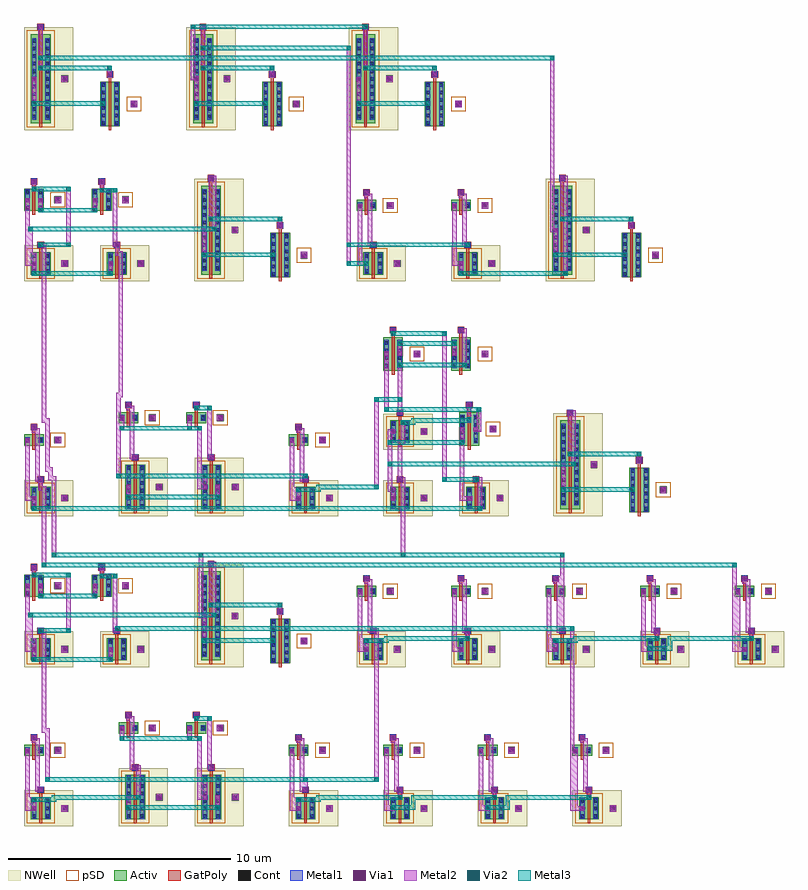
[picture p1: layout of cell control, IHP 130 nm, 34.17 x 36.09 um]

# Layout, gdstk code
import gdstk
lib = gdstk.Library(unit=1e-6, precision=1e-09)
def R(c, l, rs):  # rectangles x0, y0, x1, y1
    for r in rs: c.add(gdstk.rectangle(r[:2], r[2:], *l))
def A(c, l, x, y, w, h, nx, ny, dx, dy):  # array of equal rectangles
    R(c, l, [(x+i*dx, y+j*dy, x+i*dx+w, y+j*dy+h) for i in range(nx) for j in range(ny)])
Activ = (1, 0)
GatPoly = (5, 0)
Cont = (6, 0)
Metal1 = (8, 0)
Metal2 = (10, 0)
pSD = (14, 0)
Via1 = (19, 0)
Via2 = (29, 0)
Metal3 = (30, 0)
NWell = (31, 0)

sg13_lv_pmos_w1_l0p13 = lib.new_cell('sg13_lv_pmos_w1_l0p13')
R(sg13_lv_pmos_w1_l0p13, Activ, [(0,0,0.89,1), (1.37,0.35,1.67,0.65)])
R(sg13_lv_pmos_w1_l0p13, GatPoly, [(0.38,-0.18,0.51,1.2), (0.295,1.18,0.595,1.48)])
A(sg13_lv_pmos_w1_l0p13, Cont, 0.07, 0.08, 0.16, 0.16, 1, 3, 0, 0.34)
A(sg13_lv_pmos_w1_l0p13, Cont, 0.66, 0.08, 0.16, 0.16, 1, 3, 0, 0.34)
R(sg13_lv_pmos_w1_l0p13, Cont, [(1.44,0.42,1.6,0.58), (0.365,1.25,0.525,1.41)])
R(sg13_lv_pmos_w1_l0p13, Metal1, [(0.05,0.03,0.25,0.97), (0.64,0.03,0.84,0.97), (1.375,0.355,1.665,0.645), (0.315,1.2,0.575,1.46)])
R(sg13_lv_pmos_w1_l0p13, Metal2, [(1.375,0.355,1.665,0.645)])
R(sg13_lv_pmos_w1_l0p13, pSD, [(-0.18,-0.18,1.07,1.18)])
R(sg13_lv_pmos_w1_l0p13, Via1, [(1.425,0.405,1.615,0.595)])
R(sg13_lv_pmos_w1_l0p13, NWell, [(-0.31,-0.31,1.91,1.31)])

sg13_lv_nmos_w0p5_l0p13 = lib.new_cell('sg13_lv_nmos_w0p5_l0p13')
R(sg13_lv_nmos_w0p5_l0p13, Activ, [(0,0,0.89,0.5), (1.37,0.1,1.67,0.4)])
R(sg13_lv_nmos_w0p5_l0p13, GatPoly, [(0.38,-0.18,0.51,0.7), (0.295,0.68,0.595,0.98)])
R(sg13_lv_nmos_w0p5_l0p13, Cont, [(0.07,0.17,0.23,0.33), (0.66,0.17,0.82,0.33), (1.44,0.17,1.6,0.33), (0.365,0.75,0.525,0.91)])
R(sg13_lv_nmos_w0p5_l0p13, Metal1, [(1.375,0.105,1.665,0.395), (0.05,0.12,0.25,0.38), (0.64,0.12,0.84,0.38), (0.315,0.7,0.575,0.96)])
R(sg13_lv_nmos_w0p5_l0p13, Metal2, [(1.375,0.105,1.665,0.395)])
R(sg13_lv_nmos_w0p5_l0p13, pSD, [(1.19,-0.08,1.85,0.58)])
R(sg13_lv_nmos_w0p5_l0p13, Via1, [(1.425,0.155,1.615,0.345)])

inv = lib.new_cell('inv')
R(inv, Metal1, [(0.345,0.695,0.555,0.905), (0.645,1.545,0.855,1.755), (0.045,3.295,0.255,3.505), (0.345,3.895,0.555,4.105)])
R(inv, Metal2, [(0.05,0.7,0.25,3.5), (0.05,0.7,0.55,0.9), (0.35,0.7,0.55,0.9), (0.5,1.55,0.85,1.75), (0.5,1.55,0.7,3.95), (0.65,1.55,0.85,1.75), (0.05,3.3,0.25,3.5), (0.35,3.75,0.55,4.1), (0.35,3.75,0.7,3.95), (0.35,3.9,0.55,4.1)])
R(inv, Via1, [(0.355,0.705,0.545,0.895), (0.655,1.555,0.845,1.745), (0.055,3.305,0.245,3.495), (0.355,3.905,0.545,4.095)])
inv.add(gdstk.Reference(sg13_lv_pmos_w1_l0p13, (0.31,0.31)))
inv.add(gdstk.Reference(sg13_lv_nmos_w0p5_l0p13, (0,3.17)))
inv.add(gdstk.Label('Y', (0.46,0.81), layer=8, texttype=25))
inv.add(gdstk.Label('A', (0.755,1.64), layer=8, texttype=25))
inv.add(gdstk.Label('VDD', (1.05,0.81), layer=8, texttype=25))
inv.add(gdstk.Label('VDD', (1.83,0.81), layer=8, texttype=25))
inv.add(gdstk.Label('Y', (0.15,3.42), layer=8, texttype=25))
inv.add(gdstk.Label('A', (0.445,4), layer=8, texttype=25))
inv.add(gdstk.Label('VSS', (0.74,3.42), layer=8, texttype=25))
inv.add(gdstk.Label('VSS', (1.52,3.42), layer=8, texttype=25))

sg13_lv_pmos_w2_l0p13 = lib.new_cell('sg13_lv_pmos_w2_l0p13')
R(sg13_lv_pmos_w2_l0p13, Activ, [(0,0,0.89,2), (1.37,0.85,1.67,1.15)])
R(sg13_lv_pmos_w2_l0p13, GatPoly, [(0.38,-0.18,0.51,2.2), (0.295,2.18,0.595,2.48)])
A(sg13_lv_pmos_w2_l0p13, Cont, 0.07, 0.07, 0.16, 0.16, 1, 6, 0, 0.34)
A(sg13_lv_pmos_w2_l0p13, Cont, 0.66, 0.07, 0.16, 0.16, 1, 6, 0, 0.34)
R(sg13_lv_pmos_w2_l0p13, Cont, [(1.44,0.92,1.6,1.08), (0.365,2.25,0.525,2.41)])
R(sg13_lv_pmos_w2_l0p13, Metal1, [(0.05,0.02,0.25,1.98), (0.64,0.02,0.84,1.98), (1.375,0.855,1.665,1.145), (0.315,2.2,0.575,2.46)])
R(sg13_lv_pmos_w2_l0p13, Metal2, [(1.375,0.855,1.665,1.145)])
R(sg13_lv_pmos_w2_l0p13, pSD, [(-0.18,-0.18,1.07,2.18)])
R(sg13_lv_pmos_w2_l0p13, Via1, [(1.425,0.905,1.615,1.095)])
R(sg13_lv_pmos_w2_l0p13, NWell, [(-0.31,-0.31,1.91,2.31)])

nor2 = lib.new_cell('nor2')
R(nor2, Metal1, [(0.345,1.195,0.555,1.405), (3.795,1.195,4.005,1.405), (4.345,1.195,4.555,1.405), (0.645,2.545,0.855,2.755), (4.095,2.545,4.305,2.755), (0.045,4.295,0.255,4.505), (3.095,4.295,3.305,4.505), (0.345,4.895,0.555,5.105), (3.395,4.895,3.605,5.105)])
R(nor2, Metal2, [(0.35,0.75,0.55,0.95), (0.35,0.75,0.55,1.4), (4.35,0.75,4.55,0.95), (4.35,0.75,4.55,1.4), (0.35,1.2,0.55,1.4), (3.55,1.2,3.75,4.05), (3.55,1.2,4,1.4), (3.8,1.2,4,1.4), (4.35,1.2,4.55,1.4), (0.5,2.55,0.85,2.75), (0.5,2.55,0.7,4.95), (0.65,2.55,0.85,2.75), (4,2.55,4.2,4.95), (4,2.55,4.3,2.75), (4.1,2.55,4.3,2.75), (0.05,3.85,0.25,4.05), (0.05,3.85,0.25,4.5), (3.1,3.85,3.3,4.05), (3.1,3.85,3.3,4.5), (3.55,3.85,3.75,4.05), (0.05,4.3,0.25,4.5), (3.1,4.3,3.3,4.5), (0.35,4.75,0.55,5.1), (0.35,4.75,0.7,4.95), (3.4,4.75,3.6,4.95), (3.4,4.75,3.6,5.1), (4,4.75,4.2,4.95), (0.35,4.9,0.55,5.1), (3.4,4.9,3.6,5.1)])
R(nor2, Via1, [(0.355,1.205,0.545,1.395), (3.805,1.205,3.995,1.395), (4.355,1.205,4.545,1.395), (0.655,2.555,0.845,2.745), (4.105,2.555,4.295,2.745), (0.055,4.305,0.245,4.495), (3.105,4.305,3.295,4.495), (0.355,4.905,0.545,5.095), (3.405,4.905,3.595,5.095)])
R(nor2, Via2, [(0.355,0.755,0.545,0.945), (4.355,0.755,4.545,0.945), (0.055,3.855,0.245,4.045), (3.105,3.855,3.295,4.045), (3.555,3.855,3.745,4.045), (3.405,4.755,3.595,4.945), (4.005,4.755,4.195,4.945)])
R(nor2, Metal3, [(0.35,0.75,0.55,0.95), (0.35,0.75,4.55,0.95), (4.35,0.75,4.55,0.95), (0.05,3.85,0.25,4.05), (0.05,3.85,3.3,4.05), (3.1,3.85,3.3,4.05), (3.1,3.85,3.75,4.05), (3.55,3.85,3.75,4.05), (3.4,4.75,3.6,4.95), (3.4,4.75,4.2,4.95), (4,4.75,4.2,4.95)])
nor2.add(gdstk.Reference(sg13_lv_pmos_w2_l0p13, (0.31,0.31)))
nor2.add(gdstk.Reference(sg13_lv_pmos_w2_l0p13, (3.73,0.31)))
nor2.add(gdstk.Reference(sg13_lv_nmos_w0p5_l0p13, (0,4.17)))
nor2.add(gdstk.Reference(sg13_lv_nmos_w0p5_l0p13, (3.05,4.17)))
nor2.add(gdstk.Label('N1', (0.46,1.31), layer=8, texttype=25))
nor2.add(gdstk.Label('A', (0.755,2.64), layer=8, texttype=25))
nor2.add(gdstk.Label('VDD', (1.05,1.31), layer=8, texttype=25))
nor2.add(gdstk.Label('VDD', (1.83,1.31), layer=8, texttype=25))
nor2.add(gdstk.Label('Y', (3.88,1.31), layer=8, texttype=25))
nor2.add(gdstk.Label('B', (4.175,2.64), layer=8, texttype=25))
nor2.add(gdstk.Label('N1', (4.47,1.31), layer=8, texttype=25))
nor2.add(gdstk.Label('VDD', (5.25,1.31), layer=8, texttype=25))
nor2.add(gdstk.Label('Y', (0.15,4.42), layer=8, texttype=25))
nor2.add(gdstk.Label('A', (0.445,5), layer=8, texttype=25))
nor2.add(gdstk.Label('VSS', (0.74,4.42), layer=8, texttype=25))
nor2.add(gdstk.Label('VSS', (1.52,4.42), layer=8, texttype=25))
nor2.add(gdstk.Label('Y', (3.2,4.42), layer=8, texttype=25))
nor2.add(gdstk.Label('B', (3.495,5), layer=8, texttype=25))
nor2.add(gdstk.Label('VSS', (3.79,4.42), layer=8, texttype=25))
nor2.add(gdstk.Label('VSS', (4.57,4.42), layer=8, texttype=25))

sg13_lv_nmos_w1_l0p13 = lib.new_cell('sg13_lv_nmos_w1_l0p13')
R(sg13_lv_nmos_w1_l0p13, Activ, [(0,0,0.89,1), (1.37,0.35,1.67,0.65)])
R(sg13_lv_nmos_w1_l0p13, GatPoly, [(0.38,-0.18,0.51,1.2), (0.295,1.18,0.595,1.48)])
A(sg13_lv_nmos_w1_l0p13, Cont, 0.07, 0.08, 0.16, 0.16, 1, 3, 0, 0.34)
A(sg13_lv_nmos_w1_l0p13, Cont, 0.66, 0.08, 0.16, 0.16, 1, 3, 0, 0.34)
R(sg13_lv_nmos_w1_l0p13, Cont, [(1.44,0.42,1.6,0.58), (0.365,1.25,0.525,1.41)])
R(sg13_lv_nmos_w1_l0p13, Metal1, [(0.05,0.03,0.25,0.97), (0.64,0.03,0.84,0.97), (1.375,0.355,1.665,0.645), (0.315,1.2,0.575,1.46)])
R(sg13_lv_nmos_w1_l0p13, Metal2, [(1.375,0.355,1.665,0.645)])
R(sg13_lv_nmos_w1_l0p13, pSD, [(1.19,0.17,1.85,0.83)])
R(sg13_lv_nmos_w1_l0p13, Via1, [(1.425,0.405,1.615,0.595)])

nand2 = lib.new_cell('nand2')
R(nand2, Metal1, [(0.345,0.695,0.555,0.905), (3.795,0.695,4.005,0.905), (0.645,1.545,0.855,1.755), (4.095,1.545,4.305,1.755), (0.045,3.545,0.255,3.755), (0.645,3.545,0.855,3.755), (3.095,3.545,3.305,3.755), (0.345,4.395,0.555,4.605), (3.395,4.395,3.605,4.605)])
R(nand2, Metal2, [(0.35,0.25,0.55,0.45), (0.35,0.25,0.55,0.9), (3.8,0.25,4,0.45), (3.8,0.25,4,0.9), (0.05,0.7,0.25,3.75), (0.05,0.7,0.55,0.9), (0.35,0.7,0.55,0.9), (3.8,0.7,4,0.9), (0.65,1.55,0.85,1.75), (0.65,1.55,0.85,1.75), (1.9,1.55,2.1,1.75), (1.9,1.55,2.1,4.25), (4,1.55,4.2,4.2), (4,1.55,4.3,1.75), (4.1,1.55,4.3,1.75), (0.65,3.1,0.85,3.3), (0.65,3.1,0.85,3.75), (3.1,3.1,3.3,3.3), (3.1,3.1,3.3,3.75), (0.05,3.55,0.25,3.75), (0.65,3.55,0.85,3.75), (3.1,3.55,3.3,3.75), (3.4,4,3.6,4.2), (3.4,4,3.6,4.6), (4,4,4.2,4.2), (0.35,4.05,0.55,4.25), (0.35,4.05,0.55,4.6), (1.9,4.05,2.1,4.25), (0.35,4.4,0.55,4.6), (3.4,4.4,3.6,4.6)])
R(nand2, Via1, [(0.355,0.705,0.545,0.895), (3.805,0.705,3.995,0.895), (0.655,1.555,0.845,1.745), (4.105,1.555,4.295,1.745), (0.055,3.555,0.245,3.745), (0.655,3.555,0.845,3.745), (3.105,3.555,3.295,3.745), (0.355,4.405,0.545,4.595), (3.405,4.405,3.595,4.595)])
R(nand2, Via2, [(0.355,0.255,0.545,0.445), (3.805,0.255,3.995,0.445), (0.655,1.555,0.845,1.745), (1.905,1.555,2.095,1.745), (0.655,3.105,0.845,3.295), (3.105,3.105,3.295,3.295), (3.405,4.005,3.595,4.195), (4.005,4.005,4.195,4.195), (0.355,4.055,0.545,4.245), (1.905,4.055,2.095,4.245)])
R(nand2, Metal3, [(0.35,0.25,0.55,0.45), (0.35,0.25,4,0.45), (3.8,0.25,4,0.45), (0.65,1.55,0.85,1.75), (0.65,1.55,2.1,1.75), (1.9,1.55,2.1,1.75), (0.65,3.1,0.85,3.3), (0.65,3.1,3.3,3.3), (3.1,3.1,3.3,3.3), (3.4,4,3.6,4.2), (3.4,4,4.2,4.2), (4,4,4.2,4.2), (0.35,4.05,0.55,4.25), (0.35,4.05,2.1,4.25), (1.9,4.05,2.1,4.25)])
nand2.add(gdstk.Reference(sg13_lv_pmos_w1_l0p13, (0.31,0.31)))
nand2.add(gdstk.Reference(sg13_lv_pmos_w1_l0p13, (3.73,0.31)))
nand2.add(gdstk.Reference(sg13_lv_nmos_w1_l0p13, (0,3.17)))
nand2.add(gdstk.Reference(sg13_lv_nmos_w1_l0p13, (3.05,3.17)))
nand2.add(gdstk.Label('Y', (0.46,0.81), layer=8, texttype=25))
nand2.add(gdstk.Label('A', (0.755,1.64), layer=8, texttype=25))
nand2.add(gdstk.Label('VDD', (1.05,0.81), layer=8, texttype=25))
nand2.add(gdstk.Label('VDD', (1.83,0.81), layer=8, texttype=25))
nand2.add(gdstk.Label('Y', (3.88,0.81), layer=8, texttype=25))
nand2.add(gdstk.Label('B', (4.175,1.64), layer=8, texttype=25))
nand2.add(gdstk.Label('VDD', (4.47,0.81), layer=8, texttype=25))
nand2.add(gdstk.Label('VDD', (5.25,0.81), layer=8, texttype=25))
nand2.add(gdstk.Label('Y', (0.15,3.67), layer=8, texttype=25))
nand2.add(gdstk.Label('A', (0.445,4.5), layer=8, texttype=25))
nand2.add(gdstk.Label('N1', (0.74,3.67), layer=8, texttype=25))
nand2.add(gdstk.Label('VSS', (1.52,3.67), layer=8, texttype=25))
nand2.add(gdstk.Label('N1', (3.2,3.67), layer=8, texttype=25))
nand2.add(gdstk.Label('B', (3.495,4.5), layer=8, texttype=25))
nand2.add(gdstk.Label('VSS', (3.79,3.67), layer=8, texttype=25))
nand2.add(gdstk.Label('VSS', (4.57,3.67), layer=8, texttype=25))

sg13_lv_pmos_w4_l0p13 = lib.new_cell('sg13_lv_pmos_w4_l0p13')
R(sg13_lv_pmos_w4_l0p13, Activ, [(0,0,0.89,4), (1.37,1.85,1.67,2.15)])
R(sg13_lv_pmos_w4_l0p13, GatPoly, [(0.38,-0.18,0.51,4.2), (0.295,4.18,0.595,4.48)])
A(sg13_lv_pmos_w4_l0p13, Cont, 0.07, 0.22, 0.16, 0.16, 1, 11, 0, 0.34)
A(sg13_lv_pmos_w4_l0p13, Cont, 0.66, 0.22, 0.16, 0.16, 1, 11, 0, 0.34)
R(sg13_lv_pmos_w4_l0p13, Cont, [(1.44,1.92,1.6,2.08), (0.365,4.25,0.525,4.41)])
R(sg13_lv_pmos_w4_l0p13, Metal1, [(0.05,0.17,0.25,3.83), (0.64,0.17,0.84,3.83), (1.375,1.855,1.665,2.145), (0.315,4.2,0.575,4.46)])
R(sg13_lv_pmos_w4_l0p13, Metal2, [(1.375,1.855,1.665,2.145)])
R(sg13_lv_pmos_w4_l0p13, pSD, [(-0.18,-0.18,1.07,4.18)])
R(sg13_lv_pmos_w4_l0p13, Via1, [(1.425,1.905,1.615,2.095)])
R(sg13_lv_pmos_w4_l0p13, NWell, [(-0.31,-0.31,1.91,4.31)])

sg13_lv_nmos_w2_l0p13 = lib.new_cell('sg13_lv_nmos_w2_l0p13')
R(sg13_lv_nmos_w2_l0p13, Activ, [(0,0,0.89,2), (1.37,0.85,1.67,1.15)])
R(sg13_lv_nmos_w2_l0p13, GatPoly, [(0.38,-0.18,0.51,2.2), (0.295,2.18,0.595,2.48)])
A(sg13_lv_nmos_w2_l0p13, Cont, 0.07, 0.07, 0.16, 0.16, 1, 6, 0, 0.34)
A(sg13_lv_nmos_w2_l0p13, Cont, 0.66, 0.07, 0.16, 0.16, 1, 6, 0, 0.34)
R(sg13_lv_nmos_w2_l0p13, Cont, [(1.44,0.92,1.6,1.08), (0.365,2.25,0.525,2.41)])
R(sg13_lv_nmos_w2_l0p13, Metal1, [(0.05,0.02,0.25,1.98), (0.64,0.02,0.84,1.98), (1.375,0.855,1.665,1.145), (0.315,2.2,0.575,2.46)])
R(sg13_lv_nmos_w2_l0p13, Metal2, [(1.375,0.855,1.665,1.145)])
R(sg13_lv_nmos_w2_l0p13, pSD, [(1.19,0.67,1.85,1.33)])
R(sg13_lv_nmos_w2_l0p13, Via1, [(1.425,0.905,1.615,1.095)])

inv_x4 = lib.new_cell('inv_x4')
R(inv_x4, Metal1, [(3.445,1.095,3.655,1.305), (0.345,2.195,0.555,2.405), (3.745,2.395,3.955,2.605), (0.645,4.545,0.855,4.755)])
R(inv_x4, Metal2, [(0.35,1.1,0.55,1.3), (0.35,1.1,0.55,2.4), (3.45,1.1,3.65,1.3), (3.45,1.1,3.65,1.3), (0.35,2.2,0.55,2.4), (3.75,2.4,3.95,2.6), (3.75,2.4,3.95,2.9), (0.65,2.7,0.85,2.9), (0.65,2.7,0.85,4.75), (3.75,2.7,3.95,2.9), (0.65,4.55,0.85,4.75)])
R(inv_x4, Via1, [(3.455,1.105,3.645,1.295), (0.355,2.205,0.545,2.395), (3.755,2.405,3.945,2.595), (0.655,4.555,0.845,4.745)])
R(inv_x4, Via2, [(0.355,1.105,0.545,1.295), (3.455,1.105,3.645,1.295), (0.655,2.705,0.845,2.895), (3.755,2.705,3.945,2.895)])
R(inv_x4, Metal3, [(0.35,1.1,0.55,1.3), (0.35,1.1,3.65,1.3), (3.45,1.1,3.65,1.3), (0.65,2.7,0.85,2.9), (0.65,2.7,3.95,2.9), (3.75,2.7,3.95,2.9)])
inv_x4.add(gdstk.Reference(sg13_lv_pmos_w4_l0p13, (0.31,0.31)))
inv_x4.add(gdstk.Reference(sg13_lv_nmos_w2_l0p13, (3.42,0.18)))
inv_x4.add(gdstk.Label('Y', (0.46,2.31), layer=8, texttype=25))
inv_x4.add(gdstk.Label('A', (0.755,4.64), layer=8, texttype=25))
inv_x4.add(gdstk.Label('VDD', (1.05,2.31), layer=8, texttype=25))
inv_x4.add(gdstk.Label('VDD', (1.83,2.31), layer=8, texttype=25))
inv_x4.add(gdstk.Label('Y', (3.57,1.18), layer=8, texttype=25))
inv_x4.add(gdstk.Label('A', (3.865,2.51), layer=8, texttype=25))
inv_x4.add(gdstk.Label('VSS', (4.16,1.18), layer=8, texttype=25))
inv_x4.add(gdstk.Label('VSS', (4.94,1.18), layer=8, texttype=25))

sg13_lv_nmos_w1p5_l0p13 = lib.new_cell('sg13_lv_nmos_w1p5_l0p13')
R(sg13_lv_nmos_w1p5_l0p13, Activ, [(0,0,0.89,1.5), (1.37,0.6,1.67,0.9)])
R(sg13_lv_nmos_w1p5_l0p13, GatPoly, [(0.38,-0.18,0.51,1.7), (0.295,1.68,0.595,1.98)])
A(sg13_lv_nmos_w1p5_l0p13, Cont, 0.07, 0.16, 0.16, 0.16, 1, 4, 0, 0.34)
A(sg13_lv_nmos_w1p5_l0p13, Cont, 0.66, 0.16, 0.16, 0.16, 1, 4, 0, 0.34)
R(sg13_lv_nmos_w1p5_l0p13, Cont, [(1.44,0.67,1.6,0.83), (0.365,1.75,0.525,1.91)])
R(sg13_lv_nmos_w1p5_l0p13, Metal1, [(0.05,0.11,0.25,1.39), (0.64,0.11,0.84,1.39), (1.375,0.605,1.665,0.895), (0.315,1.7,0.575,1.96)])
R(sg13_lv_nmos_w1p5_l0p13, Metal2, [(1.375,0.605,1.665,0.895)])
R(sg13_lv_nmos_w1p5_l0p13, pSD, [(1.19,0.42,1.85,1.08)])
R(sg13_lv_nmos_w1p5_l0p13, Via1, [(1.425,0.655,1.615,0.845)])

nand3 = lib.new_cell('nand3')
R(nand3, Metal1, [(0.345,0.695,0.555,0.905), (3.795,0.695,4.005,0.905), (0.645,1.545,0.855,1.755), (4.095,1.545,4.305,1.755), (0.345,3.695,0.555,3.905), (3.445,3.795,3.655,4.005), (4.045,3.795,4.255,4.005), (0.645,4.545,0.855,4.755), (3.745,4.895,3.955,5.105), (0.045,7.195,0.255,7.405), (0.645,7.195,0.855,7.405), (3.095,7.195,3.305,7.405), (0.345,8.245,0.555,8.455), (3.395,8.245,3.605,8.455)])
R(nand3, Metal2, [(0.35,0.7,0.55,0.9), (0.35,0.7,0.55,1.3), (3.45,0.7,3.65,3.4), (3.45,0.7,4,0.9), (3.8,0.7,4,0.9), (0.2,1.1,0.55,1.3), (0.2,1.1,0.4,3.9), (0.65,1.55,0.85,1.75), (0.65,1.55,0.85,3.45), (2.65,1.55,2.85,1.75), (2.65,1.55,2.85,8.3), (4.1,1.55,4.3,1.75), (4.1,1.55,4.3,1.75), (0.2,3.2,0.4,3.4), (3.45,3.2,3.65,3.4), (3.45,3.2,3.65,4), (0.65,3.25,1,3.45), (0.8,3.25,1,4.3), (0.2,3.7,0.55,3.9), (0.35,3.7,0.55,3.9), (3.45,3.8,3.65,4), (4.05,3.8,4.25,4), (4.05,3.8,4.4,4), (4.2,3.8,4.4,4.9), (0.8,4.1,1,4.3), (3.75,4.25,3.95,4.45), (3.75,4.25,3.95,5.1), (0.65,4.55,0.85,4.75), (0.65,4.55,0.85,6.9), (0.05,4.7,0.25,4.9), (0.05,4.7,0.25,7.4), (4.2,4.7,4.4,4.9), (3.75,4.9,3.95,5.1), (0.65,6.7,0.85,6.9), (3.55,6.7,3.75,6.9), (3.55,6.7,3.75,8.45), (0.05,7.2,0.25,7.4), (0.65,7.2,0.85,7.4), (0.65,7.2,0.85,7.85), (3.1,7.2,3.3,7.4), (3.1,7.2,3.3,7.85), (0.65,7.65,0.85,7.85), (3.1,7.65,3.3,7.85), (0.35,8.1,0.55,8.3), (0.35,8.1,0.55,8.45), (2.65,8.1,2.85,8.3), (0.35,8.25,0.55,8.45), (3.4,8.25,3.6,8.45), (3.4,8.25,3.75,8.45)])
R(nand3, Via1, [(0.355,0.705,0.545,0.895), (3.805,0.705,3.995,0.895), (0.655,1.555,0.845,1.745), (4.105,1.555,4.295,1.745), (0.355,3.705,0.545,3.895), (3.455,3.805,3.645,3.995), (4.055,3.805,4.245,3.995), (0.655,4.555,0.845,4.745), (3.755,4.905,3.945,5.095), (0.055,7.205,0.245,7.395), (0.655,7.205,0.845,7.395), (3.105,7.205,3.295,7.395), (0.355,8.255,0.545,8.445), (3.405,8.255,3.595,8.445)])
R(nand3, Via2, [(2.655,1.555,2.845,1.745), (4.105,1.555,4.295,1.745), (0.205,3.205,0.395,3.395), (3.455,3.205,3.645,3.395), (0.805,4.105,0.995,4.295), (3.755,4.255,3.945,4.445), (0.055,4.705,0.245,4.895), (4.205,4.705,4.395,4.895), (0.655,6.705,0.845,6.895), (3.555,6.705,3.745,6.895), (0.655,7.655,0.845,7.845), (3.105,7.655,3.295,7.845), (0.355,8.105,0.545,8.295), (2.655,8.105,2.845,8.295)])
R(nand3, Metal3, [(2.65,1.55,2.85,1.75), (2.65,1.55,4.3,1.75), (4.1,1.55,4.3,1.75), (0.2,3.2,0.4,3.4), (0.2,3.2,3.65,3.4), (3.45,3.2,3.65,3.4), (0.8,4.1,1,4.3), (0.8,4.1,1.45,4.3), (1.25,4.1,1.45,4.4), (1.25,4.2,3.95,4.4), (3.75,4.2,3.95,4.45), (3.75,4.25,3.95,4.45), (0.05,4.7,0.25,4.9), (0.05,4.7,4.4,4.9), (4.2,4.7,4.4,4.9), (0.65,6.7,0.85,6.9), (0.65,6.7,3.75,6.9), (3.55,6.7,3.75,6.9), (0.65,7.65,0.85,7.85), (0.65,7.65,3.3,7.85), (3.1,7.65,3.3,7.85), (0.35,8.1,0.55,8.3), (0.35,8.1,2.85,8.3), (2.65,8.1,2.85,8.3)])
nand3.add(gdstk.Reference(sg13_lv_pmos_w1_l0p13, (0.31,0.31)))
nand3.add(gdstk.Reference(sg13_lv_pmos_w1_l0p13, (3.73,0.31)))
nand3.add(gdstk.Reference(sg13_lv_pmos_w1_l0p13, (0.31,3.3)))
nand3.add(gdstk.Reference(sg13_lv_nmos_w1p5_l0p13, (3.42,3.17)))
nand3.add(gdstk.Reference(sg13_lv_nmos_w1p5_l0p13, (0,6.53)))
nand3.add(gdstk.Reference(sg13_lv_nmos_w1p5_l0p13, (3.05,6.53)))
nand3.add(gdstk.Label('Y', (0.46,0.81), layer=8, texttype=25))
nand3.add(gdstk.Label('A', (0.755,1.64), layer=8, texttype=25))
nand3.add(gdstk.Label('VDD', (1.05,0.81), layer=8, texttype=25))
nand3.add(gdstk.Label('VDD', (1.83,0.81), layer=8, texttype=25))
nand3.add(gdstk.Label('Y', (3.88,0.81), layer=8, texttype=25))
nand3.add(gdstk.Label('B', (4.175,1.64), layer=8, texttype=25))
nand3.add(gdstk.Label('VDD', (4.47,0.81), layer=8, texttype=25))
nand3.add(gdstk.Label('VDD', (5.25,0.81), layer=8, texttype=25))
nand3.add(gdstk.Label('Y', (0.46,3.8), layer=8, texttype=25))
nand3.add(gdstk.Label('C', (0.755,4.63), layer=8, texttype=25))
nand3.add(gdstk.Label('VDD', (1.05,3.8), layer=8, texttype=25))
nand3.add(gdstk.Label('VDD', (1.83,3.8), layer=8, texttype=25))
nand3.add(gdstk.Label('Y', (3.57,3.92), layer=8, texttype=25))
nand3.add(gdstk.Label('A', (3.865,5), layer=8, texttype=25))
nand3.add(gdstk.Label('N1', (4.16,3.92), layer=8, texttype=25))
nand3.add(gdstk.Label('VSS', (4.94,3.92), layer=8, texttype=25))
nand3.add(gdstk.Label('N1', (0.15,7.28), layer=8, texttype=25))
nand3.add(gdstk.Label('B', (0.445,8.36), layer=8, texttype=25))
nand3.add(gdstk.Label('N2', (0.74,7.28), layer=8, texttype=25))
nand3.add(gdstk.Label('VSS', (1.52,7.28), layer=8, texttype=25))
nand3.add(gdstk.Label('N2', (3.2,7.28), layer=8, texttype=25))
nand3.add(gdstk.Label('C', (3.495,8.36), layer=8, texttype=25))
nand3.add(gdstk.Label('VSS', (3.79,7.28), layer=8, texttype=25))
nand3.add(gdstk.Label('VSS', (4.57,7.28), layer=8, texttype=25))

control = lib.new_cell('control')
A(control, Metal2, 16.8, 1.2, 0.2, 0.2, 3, 1, 4.25, 0)
A(control, Metal2, 16.8, 1.2, 0.2, 0.55, 3, 1, 4.25, 0)
R(control, Metal2, [(0.35,0.7,0.55,1.3), (12.25,0.7,12.45,1.3), (16.5,0.7,16.7,0.95), (20.75,0.7,20.95,0.95), (24.55,0.7,25.2,0.9), (24.55,0.7,24.75,9), (16.5,0.75,16.7,0.95), (20.75,0.75,20.95,0.95), (0.25,0.9,0.35,1.3), (12.15,0.9,12.25,1.3), (16.4,0.9,16.5,0.95), (20.65,0.9,20.75,0.95), (0.35,1.1,0.55,1.3), (12.25,1.1,12.45,1.3), (5.05,1.2,5.25,1.4), (5.05,1.2,5.25,2.75), (8.05,1.2,8.25,2.2), (8,1.4,8.05,2.2), (12.55,1.55,12.75,2.2), (0.95,2,1.15,2.2), (0.95,2,1.15,4.4), (8.05,2,8.25,2.2), (12.55,2,12.75,2.2), (15.75,2,15.95,2.2), (15.75,2,15.95,8.9), (4.9,2.55,5.25,2.75), (0.8,4.2,1.15,4.4), (0.8,4.2,1,8.9), (0.35,7.85,0.55,8.45), (15.3,7.85,15.5,8.45), (23.8,7.85,24,8.45), (28.05,7.85,28.25,8.1), (31.85,7.85,32.05,11.85), (31.85,7.85,32.5,8.05), (28.05,7.9,28.25,8.1), (0.25,8.05,0.35,8.25), (15.2,8.05,15.3,8.45), (23.7,8.05,23.8,8.45), (27.95,8.05,28.05,8.1), (0.2,8.25,0.55,8.45), (0.2,8.25,0.4,9.6), (15.3,8.25,15.5,8.45), (23.8,8.25,24,8.45), (19.85,8.35,20.05,8.55), (19.85,8.35,20.05,8.9), (28.35,8.35,28.55,8.55), (28.35,8.35,28.55,8.9), (32.6,8.35,32.8,8.55), (32.6,8.35,32.8,8.9), (0.65,8.7,1,8.9), (4.1,8.7,4.3,9), (15.6,8.7,15.95,8.9), (24.1,8.7,24.3,12.3), (4.1,8.8,4.3,9), (24.55,8.8,24.75,9), (7.85,9.35,8.2,9.55), (7.85,9.35,8.05,12.3), (0.2,9.4,0.4,9.6), (8.45,9.4,8.65,9.6), (8.45,9.4,8.65,11.9), (24,11.1,24.1,11.25), (0.8,11.65,1,11.85), (0.8,11.65,1,15.3), (31.85,11.65,32.05,11.85), (8.3,11.7,8.65,11.9), (1.25,12.1,1.45,12.3), (1.25,12.1,1.45,15.75), (7.85,12.1,8.05,12.3), (16.95,12.1,17.15,12.3), (16.95,12.1,17.15,15.7), (24.1,12.1,24.3,12.3), (0.35,14.2,0.55,14.4), (0.35,14.2,0.55,14.85), (20.4,14.2,20.6,14.4), (20.4,14.2,20.6,15.7), (12.25,14.65,12.45,15.25), (16.5,14.65,16.7,15.25), (12.15,14.85,12.25,15.25), (12.25,15.05,12.45,15.25), (16.35,15.05,16.7,15.25), (16.35,15.05,16.55,16.4), (0.65,15.1,1,15.3), (0.65,15.1,0.85,15.7), (8.05,15.15,8.25,15.85), (15.75,15.15,15.95,15.35), (15.75,15.15,15.95,19.3), (8,15.35,8.05,15.85), (12.55,15.5,12.75,15.85), (16.8,15.5,17.15,15.7), (20.25,15.5,20.6,15.7), (1.1,15.55,1.45,15.75), (1.1,15.55,1.3,16.15), (4.15,15.65,4.35,15.85), (4.15,15.65,4.35,19.5), (8.05,15.65,8.25,15.85), (12.55,15.65,12.75,15.85), (0.95,15.95,1.3,16.15), (0.95,15.95,1.15,18.35), (16.35,16.2,16.55,16.4), (24.6,16.2,24.8,16.4), (24.6,16.2,24.8,18.7), (0.8,18.15,1.15,18.35), (0.8,18.15,1,26.25), (16.8,18.5,17,19.3), (24.45,18.5,24.8,18.7), (15.75,19.1,15.95,19.3), (16.8,19.1,17,19.3), (4.15,19.3,4.45,19.5), (4.25,19.3,4.45,25.85), (19.55,24.75,19.75,24.95), (19.55,24.75,19.75,25.4), (24.25,24.75,24.45,24.95), (24.25,24.75,24.45,29.25), (0.35,25.2,0.55,25.8), (14.5,25.2,14.7,25.4), (14.5,25.2,14.7,35.1), (15.3,25.2,15.5,25.4), (0.25,25.4,0.35,25.6), (0.2,25.6,0.55,25.8), (0.2,25.6,0.4,26.95), (4.1,25.65,4.45,25.85), (4.1,25.65,4.3,26.25), (0.65,26.05,1,26.25), (14.5,26.05,14.7,26.25), (19.85,26.05,20.05,26.25), (23.65,26.7,24,26.9), (23.65,26.7,23.85,34.65), (0.2,26.75,0.4,26.95), (8.45,26.75,8.65,26.95), (8.45,26.75,8.65,29.25), (8.3,29.05,8.65,29.25), (24.1,29.05,24.45,29.25), (7.65,33.5,7.85,33.75), (7.5,33.55,7.85,33.75), (7.5,33.55,7.7,36.05), (0.65,34.45,0.85,34.65), (0.65,34.45,0.85,36.05), (23.65,34.45,23.85,34.65), (7.95,34.9,8.15,35.1), (7.95,34.9,8.15,36.05), (14.5,34.9,14.7,35.1), (7.5,35.85,7.7,36.05), (15.25,35.85,15.45,36.05)])
A(control, Via2, 16.805, 1.205, 0.19, 0.19, 3, 1, 4.25, 0)
R(control, Via2, [(16.505,0.755,16.695,0.945), (20.755,0.755,20.945,0.945), (0.355,1.105,0.545,1.295), (12.255,1.105,12.445,1.295), (5.055,1.205,5.245,1.395), (0.955,2.005,1.145,2.195), (8.055,2.005,8.245,2.195), (12.555,2.005,12.745,2.195), (15.755,2.005,15.945,2.195), (28.055,7.905,28.245,8.095), (15.305,8.255,15.495,8.445), (23.805,8.255,23.995,8.445), (19.855,8.355,20.045,8.545), (28.355,8.355,28.545,8.545), (32.605,8.355,32.795,8.545), (4.105,8.805,4.295,8.995), (24.555,8.805,24.745,8.995), (0.205,9.405,0.395,9.595), (8.455,9.405,8.645,9.595), (0.805,11.655,0.995,11.845), (31.855,11.655,32.045,11.845), (1.255,12.105,1.445,12.295), (7.855,12.105,8.045,12.295), (16.955,12.105,17.145,12.295), (24.105,12.105,24.295,12.295), (0.355,14.205,0.545,14.395), (20.405,14.205,20.595,14.395), (12.255,15.055,12.445,15.245), (15.755,15.155,15.945,15.345), (4.155,15.655,4.345,15.845), (8.055,15.655,8.245,15.845), (12.555,15.655,12.745,15.845), (16.355,16.205,16.545,16.395), (24.605,16.205,24.795,16.395), (15.755,19.105,15.945,19.295), (16.805,19.105,16.995,19.295), (19.555,24.755,19.745,24.945), (24.255,24.755,24.445,24.945), (14.505,25.205,14.695,25.395), (15.305,25.205,15.495,25.395), (14.505,26.055,14.695,26.245), (19.855,26.055,20.045,26.245), (0.205,26.755,0.395,26.945), (8.455,26.755,8.645,26.945), (0.655,34.455,0.845,34.645), (23.655,34.455,23.845,34.645), (7.955,34.905,8.145,35.095), (14.505,34.905,14.695,35.095), (7.505,35.855,7.695,36.045), (15.255,35.855,15.445,36.045)])
A(control, Metal3, 13.15, 1.2, 3.85, 0.2, 3, 1, 4.25, 0)
A(control, Metal3, 16.8, 1.2, 0.2, 0.2, 3, 1, 4.25, 0)
R(control, Metal3, [(16.5,0.75,16.7,0.95), (16.5,0.75,17.6,0.95), (17.4,0.75,17.6,1.4), (20.75,0.75,20.95,0.95), (20.75,0.75,21.85,0.95), (21.65,0.75,21.85,1.4), (0.35,1.1,0.55,1.3), (0.35,1.1,1.45,1.3), (1.25,1.1,1.45,1.4), (12.25,1.1,12.45,1.3), (12.25,1.1,13.35,1.3), (13.15,1.1,13.35,1.4), (1.25,1.2,5.25,1.4), (5.05,1.2,5.25,1.4), (0.95,2,1.15,2.2), (0.95,2,8.25,2.2), (8.05,2,8.25,2.2), (8.05,2,12.75,2.2), (12.55,2,12.75,2.2), (12.55,2,15.95,2.2), (15.75,2,15.95,2.2), (28.05,7.9,28.25,8.1), (28.05,7.9,29.15,8.1), (28.95,7.9,29.15,8.55), (15.3,8.25,15.5,8.45), (15.3,8.25,16.4,8.45), (16.2,8.25,16.4,8.55), (23.8,8.25,24,8.45), (23.8,8.25,24.9,8.45), (24.7,8.25,24.9,8.55), (16.2,8.35,20.05,8.55), (19.85,8.35,20.05,8.55), (24.7,8.35,28.55,8.55), (28.35,8.35,28.55,8.55), (28.95,8.35,32.8,8.55), (32.6,8.35,32.8,8.55), (4.1,8.8,4.3,9), (4.1,8.8,24.75,9), (24.55,8.8,24.75,9), (0.2,9.4,0.4,9.6), (0.2,9.4,8.65,9.6), (8.45,9.4,8.65,9.6), (0.8,11.65,1,11.85), (0.8,11.65,32.05,11.85), (31.85,11.65,32.05,11.85), (1.25,12.1,1.45,12.3), (1.25,12.1,8.05,12.3), (7.85,12.1,8.05,12.3), (7.85,12.1,17.15,12.3), (16.95,12.1,17.15,12.3), (16.95,12.1,24.3,12.3), (24.1,12.1,24.3,12.3), (0.35,14.2,0.55,14.4), (0.35,14.2,20.6,14.4), (20.4,14.2,20.6,14.4), (12.25,15.05,12.45,15.25), (12.25,15.05,13.35,15.25), (13.15,15.05,13.35,15.35), (13.15,15.15,15.95,15.35), (15.75,15.15,15.95,15.35), (4.15,15.65,4.35,15.85), (4.15,15.65,8.25,15.85), (8.05,15.65,8.25,15.85), (8.05,15.65,12.75,15.85), (12.55,15.65,12.75,15.85), (16.35,16.2,16.55,16.4), (16.35,16.2,24.8,16.4), (24.6,16.2,24.8,16.4), (15.75,19.1,15.95,19.3), (15.75,19.1,17,19.3), (16.8,19.1,17,19.3), (19.55,24.75,19.75,24.95), (19.55,24.75,24.45,24.95), (24.25,24.75,24.45,24.95), (14.5,25.2,14.7,25.4), (14.5,25.2,15.5,25.4), (15.3,25.2,15.5,25.4), (14.5,26.05,14.7,26.25), (14.5,26.05,20.05,26.25), (19.85,26.05,20.05,26.25), (0.2,26.75,0.4,26.95), (0.2,26.75,8.65,26.95), (8.45,26.75,8.65,26.95), (0.65,34.45,0.85,34.65), (0.65,34.45,23.85,34.65), (23.65,34.45,23.85,34.65), (7.95,34.9,8.15,35.1), (7.95,34.9,14.7,35.1), (14.5,34.9,14.7,35.1), (7.5,35.85,7.7,36.05), (7.5,35.85,15.45,36.05), (15.25,35.85,15.45,36.05)])
control.add(gdstk.Reference(inv, (0,0)))
control.add(gdstk.Reference(nor2, (4.25,0)))
control.add(gdstk.Reference(inv, (11.9,0)))
control.add(gdstk.Reference(inv, (16.15,0)))
control.add(gdstk.Reference(inv, (20.4,0)))
control.add(gdstk.Reference(inv, (24.65,0)))
control.add(gdstk.Reference(nand2, (0,7.15)))
control.add(gdstk.Reference(inv_x4, (7.65,7.15)))
control.add(gdstk.Reference(inv, (14.95,7.15)))
control.add(gdstk.Reference(inv, (19.2,7.15)))
control.add(gdstk.Reference(inv, (23.45,7.15)))
control.add(gdstk.Reference(inv, (27.7,7.15)))
control.add(gdstk.Reference(inv, (31.95,7.15)))
control.add(gdstk.Reference(inv, (0,13.95)))
control.add(gdstk.Reference(nor2, (4.25,13.95)))
control.add(gdstk.Reference(inv, (11.9,13.95)))
control.add(gdstk.Reference(nand3, (16.15,13.95)))
control.add(gdstk.Reference(inv_x4, (23.8,13.95)))
control.add(gdstk.Reference(nand2, (0,24.5)))
control.add(gdstk.Reference(inv_x4, (7.65,24.5)))
control.add(gdstk.Reference(inv, (14.95,24.5)))
control.add(gdstk.Reference(inv, (19.2,24.5)))
control.add(gdstk.Reference(inv_x4, (23.45,24.5)))
control.add(gdstk.Reference(inv_x4, (0,31.3)))
control.add(gdstk.Reference(inv_x4, (7.3,31.3)))
control.add(gdstk.Reference(inv_x4, (14.6,31.3)))

lib.write_gds('control.gds')
